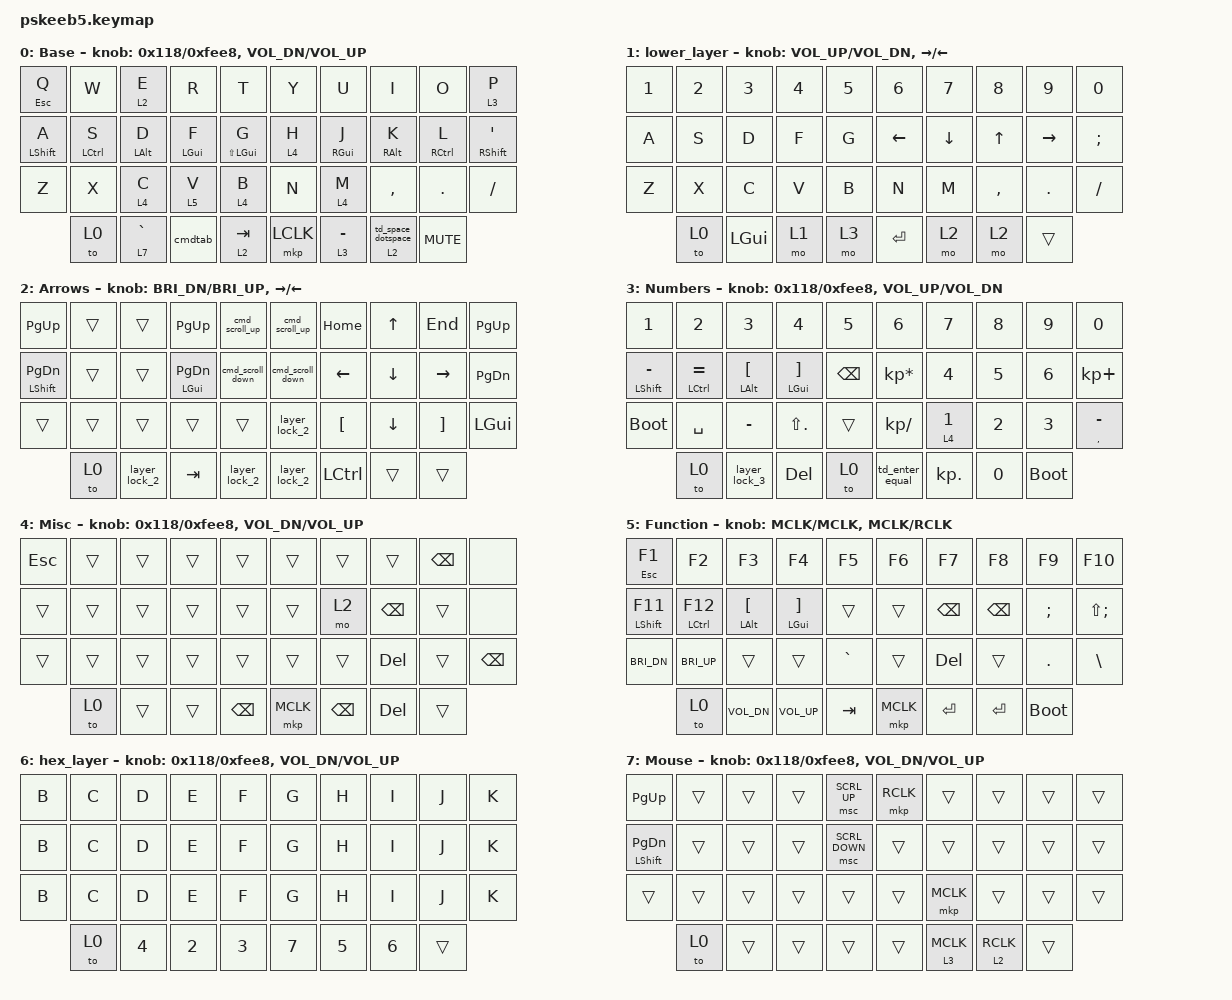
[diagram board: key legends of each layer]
// Generated from /Users/talorbach/Library/CloudStorage/Dropbox/VIAL setups/a.vil
// by tools/vil_to_zmk.py.  Only tap dances referenced by the keymap are defined.

#include <dt-bindings/zmk/mouse.h>
#include <dt-bindings/zmk/modifiers.h>
#include <behaviors.dtsi>
#include <dt-bindings/zmk/keys.h>
#include <dt-bindings/zmk/pointing.h>

/ {
    behaviors {
        mt_qmk: qmk_mod_tap {
            compatible = "zmk,behavior-hold-tap";
            #binding-cells = <2>;
            display-name = "QMK Mod-Tap";
            flavor = "balanced";
            tapping-term-ms = <175>;
            quick-tap-ms = <120>;
            bindings = <&kp>, <&kp>;
        };

        lt_qmk: qmk_layer_tap {
            compatible = "zmk,behavior-hold-tap";
            #binding-cells = <2>;
            display-name = "QMK Layer-Tap";
            flavor = "balanced";
            tapping-term-ms = <175>;
            quick-tap-ms = <120>;
            bindings = <&mo>, <&kp>;
        };

        td_key_ht: tap_dance_key_hold {
            compatible = "zmk,behavior-hold-tap";
            #binding-cells = <2>;
            display-name = "Tap Dance Key Hold";
            flavor = "balanced";
            tapping-term-ms = <200>;
            quick-tap-ms = <120>;
            bindings = <&kp>, <&kp>;
        };

        cmdtab_ht: cmd_tab_hold_tap {
            compatible = "zmk,behavior-hold-tap";
            #binding-cells = <2>;
            display-name = "Cmd-Tab Hold-Tap";
            flavor = "balanced";
            tapping-term-ms = <175>;
            quick-tap-ms = <120>;
            bindings = <&mo>, <&kp>;
        };

        cmdtab: cmd_tab_mod_morph {
            compatible = "zmk,behavior-mod-morph";
            #binding-cells = <0>;
            display-name = "Cmd-Tab";
            bindings = <&cmdtab_ht 3 SPACE>, <&kp TAB>;

            mods = <(MOD_LGUI | MOD_RGUI)>;
            keep-mods = <(MOD_LGUI | MOD_RGUI)>;
        };

        sc_btn: scroll_layer_mouse_button {
            compatible = "zmk,behavior-hold-tap";
            #binding-cells = <2>;
            display-name = "Scroll Layer Mouse Button";
            flavor = "balanced";
            tapping-term-ms = <175>;
            quick-tap-ms = <120>;
            bindings = <&mo>, <&mkp>;
        };

        rot_msc: sensor_rotate_scroll {
            compatible = "zmk,behavior-sensor-rotate-var";
            #sensor-binding-cells = <2>;
            bindings = <&msc>, <&msc>;

            tap-ms = <20>;
        };

        rot_mkp: sensor_rotate_mouse_button {
            compatible = "zmk,behavior-sensor-rotate-var";
            #sensor-binding-cells = <2>;
            bindings = <&mkp>, <&mkp>;

            tap-ms = <20>;
        };

        space_arrows: space_arrows_hold_tap {
            compatible = "zmk,behavior-hold-tap";
            #binding-cells = <2>;
            display-name = "Space / Arrows";
            flavor = "balanced";
            tapping-term-ms = <175>;
            quick-tap-ms = <120>;
            bindings = <&mo>, <&td_space_dotspace>;
        };

        td_space_dotspace: tap_dance_space_dotspace {
            compatible = "zmk,behavior-tap-dance";
            #binding-cells = <0>;
            display-name = "Space / Dot-Space";
            tapping-term-ms = <250>;
            bindings = <&kp SPACE>, <&m0>;
        };

        td_enter_equal: tap_dance_enter_equal {
            compatible = "zmk,behavior-tap-dance";
            #binding-cells = <0>;
            display-name = "Enter / Equal";
            tapping-term-ms = <200>;
            bindings = <&kp ENTER>, <&kp EQUAL>;
        };

        td_slash_backslash: tap_dance_slash_backslash {
            compatible = "zmk,behavior-tap-dance";
            #binding-cells = <0>;
            display-name = "Slash / Backslash";
            tapping-term-ms = <250>;
            bindings = <&kp FSLH>, <&kp BSLH>;
        };
    };

    combos {
        compatible = "zmk,combos";

        LBoot {
            bindings = <&bootloader>;
            key-positions = <32 12 1 0>;
        };

        RBoot {
            bindings = <&bootloader>;
            key-positions = <9 8 17 35>;
        };
    };

    macros {
        m0: macro_0 {
            compatible = "zmk,behavior-macro";
            #binding-cells = <0>;
            display-name = "Dot Space";
            bindings = <&kp KP_DOT &kp SPACE>;
        };

        layer_lock_2: layer_lock_2 {
            compatible = "zmk,behavior-macro";
            #binding-cells = <0>;
            display-name = "Lock Arrows";
            bindings = <&macro_pause_for_release>, <&to 2>;
        };

        layer_lock_3: layer_lock_3 {
            compatible = "zmk,behavior-macro";
            #binding-cells = <0>;
            display-name = "Lock Numbers";
            bindings = <&macro_pause_for_release>, <&to 3>;
        };

        cmd_scroll_up: cmd_scroll_up {
            compatible = "zmk,behavior-macro";
            #binding-cells = <0>;
            display-name = "Cmd Scroll Up";
            bindings =
                <&macro_press>,
                <&kp LGUI &msc SCRL_UP>,
                <&macro_pause_for_release>,
                <&macro_release>,
                <&msc SCRL_UP &kp LGUI>;
        };

        cmd_scroll_down: cmd_scroll_down {
            compatible = "zmk,behavior-macro";
            #binding-cells = <0>;
            display-name = "Cmd Scroll Down";
            bindings =
                <&macro_press>,
                <&kp LGUI &msc SCRL_DOWN>,
                <&macro_pause_for_release>,
                <&macro_release>,
                <&msc SCRL_DOWN &kp LGUI>;
        };

        cmd_scroll_left: cmd_scroll_left {
            compatible = "zmk,behavior-macro";
            #binding-cells = <0>;
            display-name = "Cmd Scroll Left";
            bindings =
                <&macro_press>,
                <&kp LGUI &msc SCRL_LEFT>,
                <&macro_pause_for_release>,
                <&macro_release>,
                <&msc SCRL_LEFT &kp LGUI>;
        };

        cmd_scroll_right: cmd_scroll_right {
            compatible = "zmk,behavior-macro";
            #binding-cells = <0>;
            display-name = "Cmd Scroll Right";
            bindings =
                <&macro_press>,
                <&kp LGUI &msc SCRL_RIGHT>,
                <&macro_pause_for_release>,
                <&macro_release>,
                <&msc SCRL_RIGHT &kp LGUI>;
        };
    };

    keymap {
        compatible = "zmk,keymap";

        base_layer {
            display-name = "Base";
            bindings = <
&td_key_ht ESC Q  &kp W            &lt_qmk 2 E      &kp R           &kp T               &kp Y        &kp U            &kp I              &kp O            &lt_qmk 3 P
&mt_qmk LSHFT A   &mt_qmk LCTRL S  &mt_qmk LALT D   &mt_qmk LGUI F  &mt_qmk LS(LGUI) G  &lt_qmk 4 H  &mt_qmk RGUI J   &mt_qmk RALT K     &mt_qmk RCTRL L  &mt_qmk RSHFT SQT
&kp Z             &kp X            &lt_qmk 4 C      &lt_qmk 5 V     &lt_qmk 4 B         &kp N        &lt_qmk 4 M      &kp COMMA          &kp DOT          &kp SLASH
                  &to 0            &lt_qmk 7 GRAVE  &cmdtab         &lt_qmk 2 TAB       &mkp LCLK    &lt_qmk 3 MINUS  &space_arrows 2 0  &kp C_MUTE
            >;

            sensor-bindings = <&rot_msc 0x118 0xfee8 &inc_dec_kp C_VOL_DN C_VOL_UP>;
        };

        lower_layer {
            bindings = <
&kp N1  &kp N2  &kp N3    &kp N4  &kp N5  &kp N6     &kp N7    &kp N8     &kp N9     &kp N0
&kp A   &kp S   &kp D     &kp F   &kp G   &kp LEFT   &kp DOWN  &kp UP     &kp RIGHT  &kp SEMI
&kp Z   &kp X   &kp C     &kp V   &kp B   &kp N      &kp M     &kp COMMA  &kp DOT    &kp FSLH
        &to 0   &kp LGUI  &mo 1   &mo 3   &kp ENTER  &mo 2     &mo 2      &trans
            >;

            sensor-bindings = <&inc_dec_kp C_VOL_UP C_VOL_DN &inc_dec_kp RIGHT LEFT>;
        };

        raise_layer {
            display-name = "Arrows";
            bindings = <
&kp PG_UP            &trans  &trans         &kp PAGE_UP                 &cmd_scroll_up    &cmd_scroll_up    &kp HOME   &kp UP    &kp END    &kp PG_UP
&mt_qmk LSHFT PG_DN  &trans  &trans         &mt_qmk LEFT_GUI PAGE_DOWN  &cmd_scroll_down  &cmd_scroll_down  &kp LEFT   &kp DOWN  &kp RIGHT  &kp PG_DN
&trans               &trans  &trans         &trans                      &trans            &layer_lock_2     &kp LBKT   &kp DOWN  &kp RBKT   &kp LGUI
                     &to 0   &layer_lock_2  &kp TAB                     &layer_lock_2     &layer_lock_2     &kp LCTRL  &trans    &trans
            >;

            sensor-bindings = <&inc_dec_kp C_BRI_DN C_BRI_UP &inc_dec_kp RIGHT LEFT>;
        };

        num_layer {
            display-name = "Numbers";
            bindings = <
&kp N1               &kp N2               &kp N3             &kp N4             &kp N5    &kp N6           &kp N7        &kp N8  &kp N9       &kp N0
&mt_qmk LSHFT MINUS  &mt_qmk LCTRL EQUAL  &mt_qmk LALT LBKT  &mt_qmk LGUI RBKT  &kp BSPC  &kp KP_MULTIPLY  &kp N4        &kp N5  &kp N6       &kp KP_PLUS
&bootloader          &kp SPACE            &kp MINUS          &kp LS(DOT)        &trans    &kp KP_DIVIDE    &lt_qmk 4 N1  &kp N2  &kp N3       &td_key_ht COMMA MINUS
                     &to 0                &layer_lock_3      &kp DEL            &to 0     &td_enter_equal  &kp KP_DOT    &kp N0  &bootloader
            >;

            sensor-bindings = <&rot_msc 0x118 0xfee8 &inc_dec_kp C_VOL_UP C_VOL_DN>;
        };

        delete_layer {
            display-name = "Misc";
            bindings = <
&kp ESCAPE  &trans  &trans  &trans  &trans    &trans     &trans    &trans    &kp BSPC  &none
&trans      &trans  &trans  &trans  &trans    &trans     &mo 2     &kp BSPC  &trans    &none
&trans      &trans  &trans  &trans  &trans    &trans     &trans    &kp DEL   &trans    &kp BSPC
            &to 0   &trans  &trans  &kp BSPC  &mkp MCLK  &kp BSPC  &kp DEL   &trans
            >;

            sensor-bindings = <&rot_msc 0x118 0xfee8 &inc_dec_kp C_VOL_DN C_VOL_UP>;
        };

        function_layer {
            display-name = "Function";
            bindings = <
&td_key_ht ESC F1  &kp F2             &kp F3             &kp F4             &kp F5     &kp F6     &kp F7     &kp F8     &kp F9       &kp F10
&mt_qmk LSHFT F11  &mt_qmk LCTRL F12  &mt_qmk LALT LBKT  &mt_qmk LGUI RBKT  &trans     &trans     &kp BSPC   &kp BSPC   &kp SEMI     &kp LS(SEMI)
&kp C_BRI_DN       &kp C_BRI_UP       &trans             &trans             &kp GRAVE  &trans     &kp DEL    &trans     &kp DOT      &kp BACKSLASH
                   &to 0              &kp C_VOL_DN       &kp C_VOL_UP       &kp TAB    &mkp MCLK  &kp ENTER  &kp ENTER  &bootloader
            >;

            sensor-bindings = <&rot_mkp MCLK MCLK &rot_mkp MCLK RCLK>;
        };

        hex_layer {
            bindings = <
&kp B  &kp C  &kp D   &kp E   &kp F   &kp G   &kp H   &kp I   &kp J   &kp K
&kp B  &kp C  &kp D   &kp E   &kp F   &kp G   &kp H   &kp I   &kp J   &kp K
&kp B  &kp C  &kp D   &kp E   &kp F   &kp G   &kp H   &kp I   &kp J   &kp K
       &to 0  &kp N4  &kp N2  &kp N3  &kp N7  &kp N5  &kp N6  &trans
            >;

            sensor-bindings = <&rot_msc 0x118 0xfee8 &inc_dec_kp C_VOL_DN C_VOL_UP>;
        };

        mouse_layer {
            display-name = "Mouse";
            bindings = <
&kp PG_UP                     &trans  &trans  &trans  &msc SCRL_UP    &mkp RCLK  &trans          &trans          &trans  &trans
&mt_qmk LEFT_SHIFT PAGE_DOWN  &trans  &trans  &trans  &msc SCRL_DOWN  &trans     &trans          &trans          &trans  &trans
&trans                        &trans  &trans  &trans  &trans          &trans     &mkp MCLK       &trans          &trans  &trans
                              &to 0   &trans  &trans  &trans          &trans     &sc_btn 3 MCLK  &sc_btn 2 RCLK  &trans
            >;

            sensor-bindings = <&rot_msc 0x118 0xfee8 &inc_dec_kp C_VOL_DN C_VOL_UP>;
        };
    };
};
